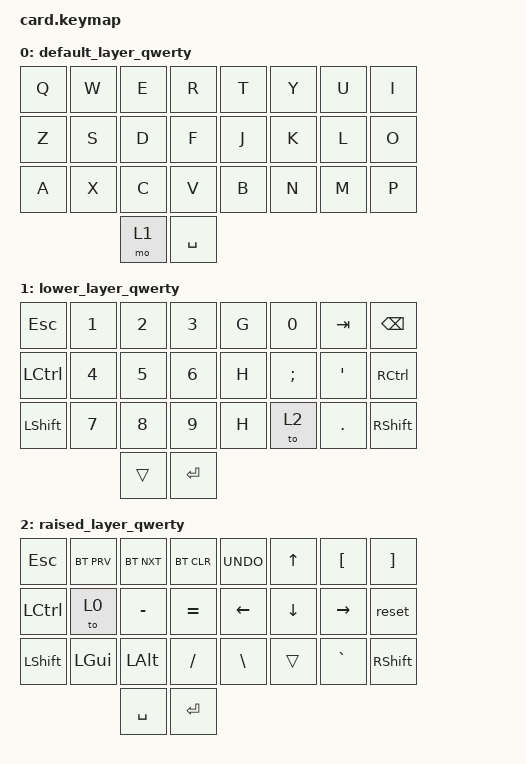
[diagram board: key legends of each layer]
 /*
 * Copyright (c) 2020 The ZMK Contributors
 *
 * SPDX-License-Identifier: MIT
 */

#include <behaviors.dtsi>
#include <dt-bindings/zmk/keys.h>
#include <dt-bindings/zmk/bt.h>
#include <dt-bindings/zmk/mouse.h>
&mt {
    tapping-term-ms = <201>;
    flavor = "tap-preferred";
 };
&sk {
     release-after-ms = <2000>;
     quick-release;
 };
 
/* Layers */
#define AL1 0
#define GM 1
#define AL2 1
#define AL2U 1
#define SM1 1
#define SM2 1	
#define NM1 1	
#define SYS 1
#define BT 1	
/ { 
    combos {
        compatible = "zmk,combos";
        combo_game {
            timeout-ms = <30>;
	    key-positions = <2 3 4 5>;
            bindings = <&to GM>;
        };
        combo_sys {
            timeout-ms = <30>;
	    key-positions = <4 5 6>;
            bindings = <&to SYS>;
        };
        combo_caps {
            timeout-ms = <30>;
	    key-positions = <12 13 14>;
            bindings = <&caps_word>;
        };
        combo_bt  {
            timeout-ms = <10>;
            key-positions = <13 14>;
            bindings = <&to BT>;
	    layers = <SM1>; 
        };
        lalt {
            timeout-ms = <20>;
	    key-positions = <10 11>;
            bindings = <&kp LALT>; 
	    layers = <SYS>; 
        };
        lclk {
            timeout-ms = <20>;
	    key-positions = <12	13>;
            bindings = <&mkp LCLK>;
	    layers = <SYS>;
        };
        rclk {
            timeout-ms = <20>;
	    key-positions = <4 5>;
            bindings = <&mkp RCLK>;
	    layers = <SYS>;
        };


    };

    behaviors {
        hm: homerow_mods {
            compatible = "zmk,behavior-hold-tap";
            label = "HOMEROW_MODS";
            #binding-cells = <2>;
            tapping-term-ms = <300>;
            quick_tap_ms = <0>;
            flavor = "tap-preferred";
            bindings = <&kp>, <&kp>;
        };
        sr: shift_layer {
            compatible = "zmk,behavior-hold-tap";
            label = "SHIFT_LAYER";
            #binding-cells = <2>;
            tapping-term-ms = <300>;
            quick_tap_ms = <0>;
            flavor = "tap-preferred";
            bindings = <&kp>, <&to>;
	    retro-tap;
        };
        hl: homerow_layers {
            compatible = "zmk,behavior-hold-tap";
            label = "HOMEROW_LAYERS";
            #binding-cells = <2>;
            tapping-term-ms = <220>;
            quick_tap_ms = <0>;
            flavor = "tap-preferred";
            bindings = <&sl>, <&kp>;
        };
	td: tapdance {
            compatible = "zmk,behavior-hold-tap";
            label = "TAPDANCE";
            #binding-cells = <2>;
            tapping-term-ms = <190>;
            quick_tap_ms = <0>;
            flavor = "tap-preferred";
            bindings = <&kp>, <&kp>;
        };
    };
       keymap {
                compatible = "zmk,keymap";
                
		default_layer_qwerty {
		bindings = <
		&kp Q		&kp W		&kp E		&kp R		&kp T		&kp Y		&kp U		&kp I  
		&kp Z		&kp S		&kp D		&kp F 	 	&kp J		&kp K		&kp L		&kp O
		&kp A		&kp X		&kp C		&kp V           &kp B		&kp N		&kp M		&kp P
								&mo 1	 	&kp SPACE 
		>;
		};
       		lower_layer_qwerty {
		bindings = <
		&kp ESC		&kp N1		&kp N2		&kp N3		&kp G		&kp N0          &kp TAB 	&kp BSPC  
		&kp LCTRL	&kp N4		&kp N5		&kp N6		&kp H		&kp SEMI	&kp SQT		&kp RCTRL
		&kp LSHFT	&kp N7		&kp N8		&kp N9		&kp H		&to 2	        &kp DOT	 	&kp RSHIFT
								&trans	 	&kp RET
		>;
		};
       		raised_layer_qwerty {
		bindings = <
		&kp ESC 	&bt BT_PRV 	&bt BT_NXT	&bt BT_CLR 	&kp K_UNDO      &kp UP         	&kp LBKT 	&kp RBKT
		&kp LCTRL 	&to 0		&kp MINUS	&kp EQUAL	&kp LEFT  	&kp DOWN        &kp RIGHT  	&reset
		&kp LSHFT 	&kp LGUI 	&kp LALT 	&kp SLASH	&kp BSLH       	&trans 		&kp GRAVE	&kp RSHIFT
								&kp SPACE 	&kp RET
		>;
		};
        
	};
};
